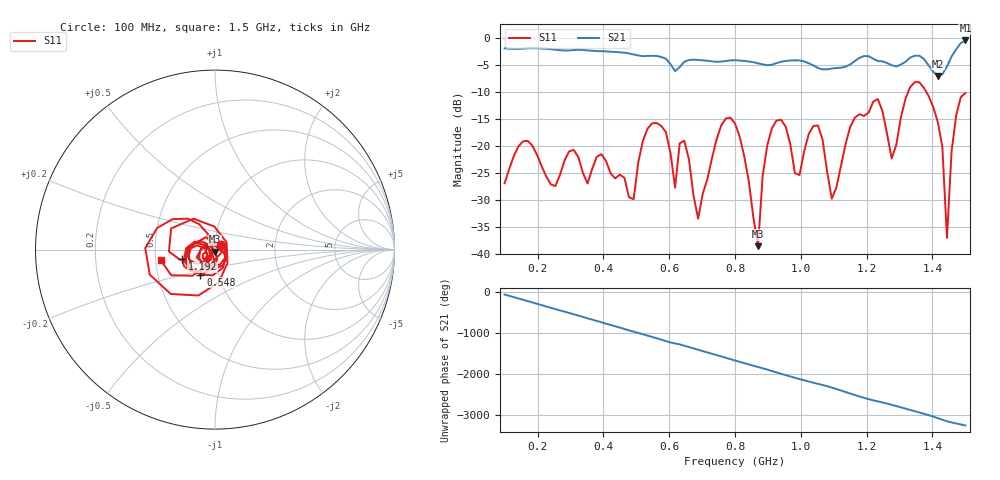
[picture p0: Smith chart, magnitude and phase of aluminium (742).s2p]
! NanoVNA-App
! Date: 2025-09-25 15:01:03
! Start: 100MHz Stop: 1,5GHz Points: 101
! S-Parameter data: F S11 S21 S12 S22
# Hz S RI R 50
!  Frequency  S11_Real  S11_Imag  S21_Real  S21_Imag  S12_Real  S12_Imag  S22_Real  S22_Imag
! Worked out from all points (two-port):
!   101 points, 100 MHz to 1.5 GHz, reference 50 ohm
!   highest |S21| = -0.46 dB at 1.5 GHz (marker M1); lowest = -7.0 dB at 1.416 GHz (marker M2)
!   |S21| within 3 dB of the highest: start of sweep to 571.1 MHz; 1.458 GHz to end of sweep (the widest 2 of 4)
!   lowest |S11| = -38.6 dB at 870 MHz (marker M3), VSWR 1.02, Z = 50.1 - j1.17 ohm
!   |S11| at or under -10 dB: start of sweep to 1.326 GHz; 1.381 GHz to end of sweep
!   S12 and S22 are empty: the file has one direction only
!   S11 on the Smith chart (normalised r, x): 100 MHz: 1.07, +0.06; 548 MHz: 0.82, -0.23; 1.192 GHz: 0.69, -0.08; 1.5 GHz: 0.53, -0.07
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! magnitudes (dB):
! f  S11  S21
! 100 MHz  -27.0  -1.9
! 156 MHz  -19.2  -2.0
! 338 MHz  -25.0  -2.2
! 492 MHz  -29.9  -3.1
! 548 MHz  -15.8  -3.3
! 576 MHz  -16.3  -3.5
! 618 MHz  -27.8  -6.1
! 646 MHz  -19.1  -4.4
! 688 MHz  -33.5  -4.1
! 800 MHz  -15.9  -4.1
! 870 MHz  -38.6  -4.7
! 912 MHz  -16.8  -5.0
! 996 MHz  -25.4  -4.2
! 1.038 GHz  -16.3  -5.1
! 1.094 GHz  -29.8  -5.7
! 1.192 GHz  -14.5  -3.4
! 1.276 GHz  -22.4  -5.1
! 1.346 GHz  -8.2  -3.3
! 1.416 GHz  -15.5  -7.0
! 1.444 GHz  -37.1  -5.3
! 1.472 GHz  -14.3  -2.1
! 1.5 GHz  -10.2  -0.5
